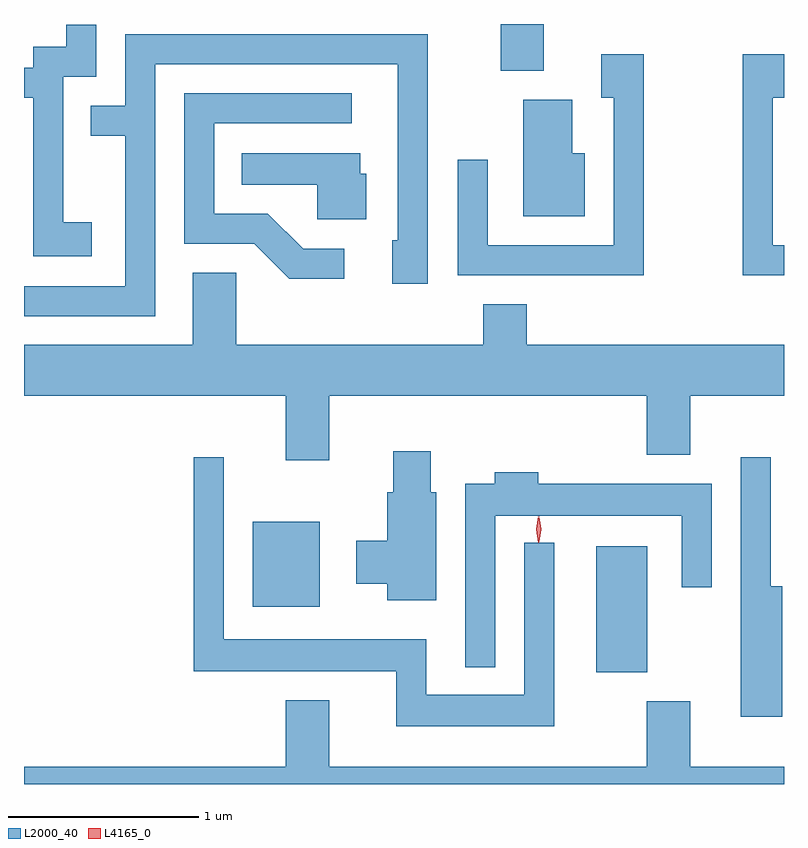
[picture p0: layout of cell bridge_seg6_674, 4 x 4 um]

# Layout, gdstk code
import gdstk
lib = gdstk.Library(unit=1e-6, precision=1e-09)
def R(c, l, rs):  # rectangles x0, y0, x1, y1
    for r in rs: c.add(gdstk.rectangle(r[:2], r[2:], *l))
def P(c, l, *ps):  # polygons
    for p in ps: c.add(gdstk.Polygon(p, *l))
L2000_40 = (2000, 40)
L4165_0 = (4165, 0)

bridge_seg6_674 = lib.new_cell('bridge_seg6_674')
R(bridge_seg6_674, L2000_40, [(311.086,1581.881,311.354,1582.544), (309.276,1582.226,309.629,1582.674), (310.581,1585.046,310.809,1585.293)])
P(bridge_seg6_674, L2000_40, [(308.429,1584.249),(308.279,1584.249),(308.279,1585.016),(308.454,1585.016),(308.454,1585.288),(308.296,1585.288),(308.296,1585.174),(308.121,1585.174),(308.121,1585.064),(308.073,1585.064),(308.073,1584.906),(308.121,1584.906),(308.121,1584.071),(308.429,1584.071)],
  [(308.764,1585.081),(310.041,1585.081),(310.041,1584.154),(310.011,1584.154),(310.011,1583.926),(310.199,1583.926),(310.199,1585.239),(308.606,1585.239),(308.606,1584.864),(308.423,1584.864),(308.423,1584.706),(308.606,1584.706),(308.606,1583.914),(308.073,1583.914),(308.073,1583.756),(308.764,1583.756)],
  [(312.073,1584.129),(312.014,1584.129),(312.014,1584.906),(312.073,1584.906),(312.073,1585.134),(311.856,1585.134),(311.856,1583.971),(312.073,1583.971)],
  [(311.334,1585.134),(311.111,1585.134),(311.111,1584.906),(311.176,1584.906),(311.176,1584.129),(310.514,1584.129),(310.514,1584.578),(310.356,1584.578),(310.356,1583.971),(311.334,1583.971)],
  [(309.758,1584.109),(309.542,1584.109),(309.357,1584.294),(309.074,1584.294),(309.074,1584.771),(309.798,1584.771),(309.798,1584.929),(308.916,1584.929),(308.916,1584.136),(309.284,1584.136),(309.469,1583.951),(309.758,1583.951)],
  [(311.024,1584.614),(310.959,1584.614),(310.959,1584.894),(310.701,1584.894),(310.701,1584.281),(311.024,1584.281)],
  [(309.874,1584.504),(309.844,1584.504),(309.844,1584.614),(309.218,1584.614),(309.218,1584.446),(309.616,1584.446),(309.616,1584.266),(309.874,1584.266)],
  [(309.679,1583.336),(311.351,1583.336),(311.351,1583.026),(311.579,1583.026),(311.579,1583.336),(312.073,1583.336),(312.073,1583.604),(310.719,1583.604),(310.719,1583.819),(310.491,1583.819),(310.491,1583.604),(309.189,1583.604),(309.189,1583.984),(308.961,1583.984),(308.961,1583.604),(308.073,1583.604),(308.073,1583.336),(309.451,1583.336),(309.451,1582.996),(309.679,1582.996)],
  [(310.244,1582.829),(310.214,1582.829),(310.214,1583.044),(310.016,1583.044),(310.016,1582.829),(309.986,1582.829),(309.986,1582.574),(309.821,1582.574),(309.821,1582.346),(309.986,1582.346),(309.986,1582.261),(310.244,1582.261)],
  [(312.064,1582.334),(312.004,1582.334),(312.004,1583.013),(311.846,1583.013),(311.846,1581.646),(312.064,1581.646)],
  [(310.864,1582.563),(310.706,1582.563),(310.706,1581.764),(310.189,1581.764),(310.189,1582.054),(309.124,1582.054),(309.124,1583.013),(308.966,1583.013),(308.966,1581.886),(310.031,1581.886),(310.031,1581.596),(310.864,1581.596)],
  [(310.554,1582.706),(311.536,1582.706),(311.536,1582.328),(311.694,1582.328),(311.694,1582.874),(310.779,1582.874),(310.779,1582.934),(310.551,1582.934),(310.551,1582.874),(310.396,1582.874),(310.396,1581.908),(310.554,1581.908)],
  [(312.073,1581.384),(311.579,1581.384),(311.579,1581.729),(311.351,1581.729),(311.351,1581.384),(309.679,1581.384),(309.679,1581.734),(309.451,1581.734),(309.451,1581.384),(308.073,1581.384),(308.073,1581.293),(312.073,1581.293)])
P(bridge_seg6_674, L4165_0, [(310.785,1582.567),(310.785,1582.568),(310.775,1582.634),(310.785,1582.7),(310.785,1582.701),(310.786,1582.7),(310.795,1582.634),(310.786,1582.568)],
  [(310.78,1582.563),(310.78,1582.564),(310.77,1582.633),(310.779,1582.702),(310.78,1582.703),(310.78,1582.702),(310.79,1582.633),(310.781,1582.564)])

lib.write_gds('bridge_seg6_674.gds')
